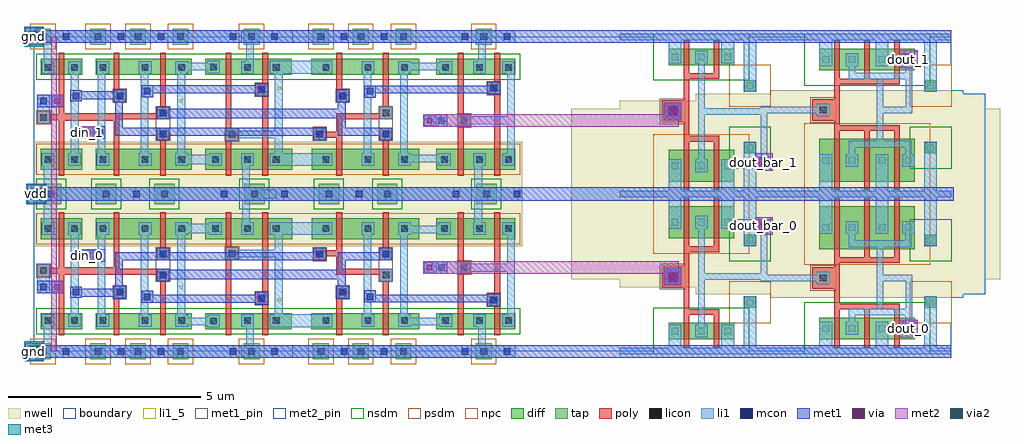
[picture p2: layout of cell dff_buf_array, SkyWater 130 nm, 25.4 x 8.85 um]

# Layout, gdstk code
import gdstk
lib = gdstk.Library(unit=1e-6, precision=1e-09)
def R(c, l, rs):  # rectangles x0, y0, x1, y1
    for r in rs: c.add(gdstk.rectangle(r[:2], r[2:], *l))
def A(c, l, x, y, w, h, nx, ny, dx, dy):  # array of equal rectangles
    R(c, l, [(x+i*dx, y+j*dy, x+i*dx+w, y+j*dy+h) for i in range(nx) for j in range(ny)])
nwell = (64, 20)
diff = (65, 20)
tap = (65, 44)
poly = (66, 20)
licon = (66, 44)
li1_5 = (67, 5)
li1 = (67, 20)
mcon = (67, 44)
met1_pin = (68, 16)
met1 = (68, 20)
via = (68, 44)
met2_pin = (69, 16)
met2 = (69, 20)
via2 = (69, 44)
met3 = (70, 20)
nsdm = (93, 44)
psdm = (94, 20)
npc = (95, 20)
boundary = (235, 4)

dff = lib.new_cell('dff')
R(dff, nwell, [(0,2.73,12.71,4.53)])
R(dff, diff, [(0.18,0.57,1.25,0.99), (1.61,0.57,4.11,0.99), (4.46,0.57,6.71,0.99), (7.22,0.57,10.02,0.99), (10.47,0.57,12.53,0.99), (0.18,2.91,1.25,3.46), (1.61,2.91,4.11,3.46), (4.46,2.91,6.72,3.46), (7.23,2.91,10.02,3.46), (10.47,2.91,12.53,3.46)])
R(dff, tap, [(0.03,-0.21,0.44,0.2), (1.46,-0.21,1.87,0.2), (2.5,-0.21,2.91,0.2), (3.61,-0.21,4.02,0.2), (5.46,-0.21,5.87,0.2), (7.26,-0.21,7.67,0.2), (8.3,-0.21,8.71,0.2), (9.41,-0.21,9.82,0.2), (11.5,-0.21,11.91,0.2), (0.18,3.82,0.71,4.35), (1.61,3.82,2.14,4.35), (3.13,3.82,3.66,4.35), (5.47,3.82,6,4.35), (7.41,3.82,7.94,4.35), (8.93,3.82,9.46,4.35), (11.51,3.82,12.04,4.35)])
R(dff, poly, [(0.64,0.42,0.79,1.99), (2.07,0.42,2.22,1.37), (3.28,0.42,3.43,1.82), (4.99,0.42,5.14,2.38), (5.94,0.42,6.09,1.21), (7.87,0.42,8.02,1.37), (9.08,0.42,9.23,1.82), (11.03,0.42,11.18,2.01), (11.98,0.42,12.13,1.17), (11.8,1.17,12.13,1.5), (5.76,1.21,6.09,1.54), (2.07,1.37,2.4,1.7), (7.87,1.37,8.2,1.7), (11.98,1.5,12.13,3.61), (5.94,1.54,6.09,3.61), (3.19,1.82,3.52,1.99), (8.99,1.82,9.32,1.99), (0.08,1.93,0.41,2.02), (0.64,1.99,3.52,2.02), (7.87,1.99,9.32,2.15), (11.03,2.01,11.36,2.34), (0.08,2.02,3.52,2.15), (0.08,2.15,2.22,2.17), (7.87,2.15,8.02,2.47), (0.08,2.17,0.41,2.26), (0.64,2.17,2.22,2.19), (0.64,2.19,0.79,3.61), (2.07,2.19,2.22,3.61), (11.03,2.34,11.18,3.61), (3.19,2.36,3.52,2.69), (7.27,2.36,7.6,2.47), (8.99,2.36,9.32,2.69), (4.99,2.38,5.32,2.71), (7.27,2.47,8.02,2.62), (7.27,2.62,7.6,2.69), (7.87,2.62,8.02,3.61), (3.28,2.69,3.43,3.61), (9.08,2.69,9.23,3.61), (4.99,2.71,5.14,3.61)])
R(dff, licon, [(0.15,-0.09,0.32,0.08), (1.58,-0.09,1.75,0.08), (2.62,-0.09,2.79,0.08), (3.73,-0.09,3.9,0.08), (5.58,-0.09,5.75,0.08), (7.38,-0.09,7.55,0.08), (8.42,-0.09,8.59,0.08), (9.53,-0.09,9.7,0.08), (11.62,-0.09,11.79,0.08), (4.59,0.7,4.76,0.87), (0.28,0.71,0.45,0.88), (0.97,0.71,1.14,0.88), (1.71,0.71,1.88,0.88), (2.81,0.71,2.98,0.88), (3.76,0.71,3.93,0.88), (5.47,0.71,5.64,0.88), (6.22,0.71,6.39,0.88), (7.51,0.71,7.68,0.88), (8.61,0.71,8.78,0.88), (9.56,0.71,9.73,0.88), (10.63,0.71,10.8,0.88), (11.51,0.71,11.68,0.88), (12.26,0.71,12.43,0.88), (11.88,1.25,12.05,1.42), (5.84,1.29,6.01,1.46), (2.15,1.45,2.32,1.62), (7.95,1.45,8.12,1.62), (3.27,1.9,3.44,2.07), (9.07,1.9,9.24,2.07), (0.16,2.01,0.33,2.18), (11.11,2.09,11.28,2.26), (3.27,2.44,3.44,2.61), (7.35,2.44,7.52,2.61), (9.07,2.44,9.24,2.61), (5.07,2.46,5.24,2.63), (0.28,3.11,0.45,3.28), (0.97,3.11,1.14,3.28), (1.71,3.11,1.88,3.28), (2.81,3.11,2.98,3.28), (3.76,3.11,3.93,3.28), (4.64,3.11,4.81,3.28), (5.47,3.11,5.64,3.28), (6.22,3.11,6.39,3.28), (7.51,3.11,7.68,3.28), (8.61,3.11,8.78,3.28), (9.56,3.11,9.73,3.28), (10.6,3.11,10.77,3.28), (11.51,3.11,11.68,3.28), (12.26,3.11,12.43,3.28), (0.36,4,0.53,4.17), (1.79,4,1.96,4.17), (3.31,4,3.48,4.17), (5.65,4,5.82,4.17), (7.59,4,7.76,4.17), (9.11,4,9.28,4.17), (11.69,4,11.86,4.17)])
R(dff, li1_5, [(6.35,1.3,6.43,1.38), (2.89,1.36,2.97,1.43), (8.71,1.36,8.79,1.43), (2.17,1.46,2.28,1.59), (3.79,1.62,3.87,1.7), (9.58,3.12,9.68,3.24)])
R(dff, li1, [(0,-0.17,12.53,0.16), (0.26,0.16,0.46,0.63), (5.52,0.16,5.72,0.63), (11.56,0.16,11.76,0.63), (4.51,0.62,4.84,0.67), (6.14,0.62,7.76,0.96), (0.2,0.63,0.53,0.96), (0.89,0.63,1.22,0.96), (1.63,0.63,1.96,0.96), (2.73,0.63,3.06,0.96), (3.68,0.63,4.01,0.67), (5.39,0.63,5.72,0.96), (8.53,0.63,8.86,0.96), (9.48,0.63,9.81,0.67), (10.55,0.63,10.88,0.67), (11.43,0.63,11.76,0.96), (12.18,0.63,12.51,0.96), (3.68,0.67,4.84,0.87), (9.48,0.67,10.88,0.87), (3.68,0.87,4.01,0.96), (4.51,0.87,4.84,0.95), (9.48,0.87,9.81,0.96), (10.55,0.87,10.88,0.96), (0.96,0.96,1.16,1.39), (1.66,0.96,1.86,2.35), (2.78,0.96,2.98,1.26), (3.73,0.96,3.93,3.03), (6.27,0.96,6.47,2.44), (8.58,0.96,8.78,1.27), (9.53,0.96,9.73,3.03), (12.31,0.96,12.51,2.07), (11.8,1.17,12.13,1.5), (5.76,1.21,6.09,1.54), (2.78,1.26,3.1,1.57), (8.58,1.27,8.9,1.58), (2.07,1.37,2.4,1.7), (7.87,1.37,8.2,1.7), (0.95,1.39,1.24,1.68), (0.08,1.51,0.41,2.26), (2.78,1.57,2.98,3.03), (8.58,1.58,8.78,3.03), (0.96,1.68,1.16,3.03), (3.19,1.82,3.52,2.15), (8.99,1.82,9.32,2.15), (11.03,2.01,11.36,2.02), (10.45,2.02,11.36,2.07), (10.45,2.07,12.51,2.27), (10.45,2.27,11.36,2.34), (12.31,2.27,12.51,3.03), (1.58,2.35,1.86,2.63), (3.19,2.36,3.52,2.69), (7.27,2.36,7.6,2.69), (8.99,2.36,9.32,2.69), (4.99,2.38,5.32,2.44), (4.99,2.44,6.47,2.64), (1.66,2.63,1.86,3.03), (4.99,2.64,5.32,2.71), (6.27,2.64,6.47,3.03), (0.2,3.03,0.53,3.36), (0.89,3.03,1.22,3.36), (1.63,3.03,1.96,3.36), (2.73,3.03,3.06,3.36), (3.68,3.03,4.01,3.07), (4.56,3.03,4.89,3.07), (5.39,3.03,5.72,3.36), (6.14,3.03,7.76,3.36), (8.53,3.03,8.86,3.36), (9.48,3.03,9.81,3.07), (10.52,3.03,10.85,3.07), (11.43,3.03,11.76,3.36), (12.18,3.03,12.51,3.36), (3.68,3.07,4.89,3.32), (9.48,3.07,10.85,3.27), (9.48,3.27,9.81,3.36), (10.52,3.27,10.85,3.36), (3.68,3.32,4.01,3.36), (4.56,3.32,4.89,3.36), (0.26,3.36,0.46,3.92), (5.42,3.36,5.62,3.92), (11.46,3.36,11.66,3.92), (0.06,3.92,12.71,4.25)])
R(dff, mcon, [(0.75,-0.09,0.92,0.08), (2.18,-0.09,2.35,0.08), (3.22,-0.09,3.39,0.08), (5.09,-0.09,5.26,0.08), (6.18,-0.09,6.35,0.08), (7.98,-0.09,8.15,0.08), (9.02,-0.09,9.19,0.08), (11.13,-0.09,11.3,0.08), (12.22,-0.09,12.39,0.08), (11.88,1.25,12.05,1.42), (5.84,1.29,6.01,1.46), (2.86,1.32,3.03,1.49), (8.66,1.33,8.83,1.5), (1.01,1.45,1.18,1.62), (2.15,1.45,2.32,1.62), (7.95,1.45,8.12,1.62), (0.16,1.58,0.33,1.75), (3.27,1.9,3.44,2.07), (10.52,2.09,10.69,2.26), (1.63,2.4,1.8,2.57), (3.27,2.44,3.44,2.61), (7.35,2.44,7.52,2.61), (9.07,2.44,9.24,2.61), (2.58,4,2.75,4.17), (4.86,4,5.03,4.17), (6.44,4,6.61,4.17), (8.38,4,8.55,4.17), (10.9,4,11.07,4.17), (12.48,4,12.65,4.17)])
R(dff, met1_pin, [(5.39,-0.17,6.74,0.16), (5.92,3.98,6.31,4.18)])
R(dff, met1, [(0,-0.17,12.53,0.16), (0,-0.17,12.53,0.16), (11.79,1.17,12.13,1.27), (5.76,1.21,6.09,1.26), (2.8,1.26,6.09,1.47), (8.6,1.27,12.13,1.47), (2.07,1.37,2.4,1.42), (7.87,1.37,8.2,1.7), (0.95,1.39,1.24,1.42), (0.95,1.42,2.4,1.62), (2.8,1.47,3.1,1.57), (5.76,1.47,6.09,1.54), (8.6,1.47,8.9,1.58), (11.79,1.47,12.13,1.5), (0.08,1.51,0.76,1.83), (0.95,1.62,1.24,1.68), (2.07,1.62,2.4,1.7), (2.11,1.7,2.31,2.37), (7.91,1.7,8.11,1.87), (3.19,1.82,3.52,1.87), (3.19,1.87,8.11,2.12), (10.13,2.02,10.76,2.34), (3.19,2.12,3.52,2.15), (7.91,2.12,8.11,2.37), (1.23,2.33,1.86,2.65), (3.19,2.36,3.52,2.37), (7.27,2.36,7.6,2.37), (8.99,2.36,9.32,2.37), (2.11,2.37,7.6,2.57), (7.91,2.37,9.32,2.57), (3.19,2.57,3.52,2.69), (7.27,2.57,7.6,2.69), (8.99,2.57,9.32,2.69), (0.06,3.92,12.71,4.25), (0.06,3.92,12.71,4.25)])
R(dff, via, [(0.525,1.595,0.675,1.745), (10.215,2.105,10.365,2.255), (1.325,2.415,1.475,2.565)])
R(dff, met2_pin, [(0.47,1.54,0.73,1.8), (10.16,2.05,10.42,2.31), (1.27,2.36,1.53,2.62)])
R(dff, met2, [(0.45,1.51,0.76,1.83), (0.45,1.51,0.76,1.83), (10.13,2.02,10.45,2.34), (10.13,2.02,10.45,2.34), (1.23,2.33,1.57,2.65), (1.23,2.33,1.57,2.65)])
R(dff, nsdm, [(0.055,0.445,12.655,1.115), (0.055,3.695,0.835,4.475), (1.485,3.695,2.265,4.475), (3.005,3.695,3.785,4.475), (5.345,3.695,6.125,4.475), (7.285,3.695,8.065,4.475), (8.805,3.695,9.585,4.475), (11.385,3.695,12.165,4.475)])
R(dff, psdm, [(-0.095,-0.335,0.565,0.325), (1.335,-0.335,1.995,0.325), (2.375,-0.335,3.035,0.325), (3.485,-0.335,4.145,0.325), (5.335,-0.335,5.995,0.325), (7.135,-0.335,7.795,0.325), (8.175,-0.335,8.835,0.325), (9.285,-0.335,9.945,0.325), (11.375,-0.335,12.035,0.325), (0.055,2.785,12.655,3.585)])
R(dff, npc, [(11.78,1.15,12.15,1.52), (5.74,1.19,6.11,1.56), (2.05,1.35,2.42,1.72), (7.85,1.35,8.22,1.72), (3.17,1.8,3.54,2.71), (8.97,1.8,9.34,2.71), (0.06,1.91,0.43,2.28), (11.01,1.99,11.38,2.36), (7.25,2.34,7.62,2.71), (4.97,2.36,5.34,2.73)])
R(dff, boundary, [(0,0,12.71,4.09)])
dff.add(gdstk.Label('net1', (2.93,1.395), layer=67, texttype=5))
dff.add(gdstk.Label('net2', (3.83,1.66), layer=67, texttype=5))
dff.add(gdstk.Label('net3', (6.39,1.34), layer=67, texttype=5))
dff.add(gdstk.Label('net4', (8.75,1.395), layer=67, texttype=5))
dff.add(gdstk.Label('net5', (9.63,3.18), layer=67, texttype=5))
dff.add(gdstk.Label('clkb', (2.225,1.525), layer=67, texttype=5))
dff.add(gdstk.Label('D', (1.4,2.49), layer=69, texttype=16))
dff.add(gdstk.Label('Q', (10.29,2.18), layer=69, texttype=16))
dff.add(gdstk.Label('clk', (0.6,1.67), layer=69, texttype=16))
dff.add(gdstk.Label('vdd', (6.115,4.08), layer=68, texttype=16))
dff.add(gdstk.Label('gnd', (6.065,-0.005), layer=68, texttype=16))
dff.add(gdstk.Label('D', (1.4,2.49), layer=69, texttype=20))
dff.add(gdstk.Label('Q', (10.29,2.18), layer=69, texttype=20))
dff.add(gdstk.Label('clk', (0.605,1.67), layer=69, texttype=20))
dff.add(gdstk.Label('vdd', (6.385,4.085), layer=68, texttype=20))
dff.add(gdstk.Label('gnd', (6.265,-0.005), layer=68, texttype=20))

contact_10 = lib.new_cell('contact_10')
R(contact_10, nwell, [(-1.25,-1.25,1.58,1.58)])
R(contact_10, diff, [(0.02,0.02,0.31,0.31)])
R(contact_10, tap, [(0.08,0.08,0.25,0.25)])
R(contact_10, li1, [(0,0,0.33,0.33)])
R(contact_10, psdm, [(-0.38,-0.38,0.71,0.71)])
R(contact_10, boundary, [(-1.25,-1.25,1.58,1.58)])

pmos_m2_w0_840_sli_dli_d = lib.new_cell('pmos_m2_w0_840_sli_dli_da_p')
R(pmos_m2_w0_840_sli_dli_d, nwell, [(-1.27,-1.27,2.97,2.11)])
R(pmos_m2_w0_840_sli_dli_d, diff, [(0,0,1.7,0.84)])
R(pmos_m2_w0_840_sli_dli_d, poly, [(0.385,-0.36,1.315,-0.21), (0.385,-0.21,0.535,1.05), (1.165,-0.21,1.315,1.05)])
A(pmos_m2_w0_840_sli_dli_d, li1, 0, 0.255, 0.33, 0.33, 3, 1, 0.685, 0)
R(pmos_m2_w0_840_sli_dli_d, psdm, [(-0.4,-0.4,2.1,1.24)])
R(pmos_m2_w0_840_sli_dli_d, boundary, [(-1.27,-1.27,2.97,2.11)])
pmos_m2_w0_840_sli_dli_d.add(gdstk.Reference(contact_10, (0,0.255)))
pmos_m2_w0_840_sli_dli_d.add(gdstk.Reference(contact_10, (0.685,0.255)))
pmos_m2_w0_840_sli_dli_d.add(gdstk.Reference(contact_10, (1.37,0.255)))
pmos_m2_w0_840_sli_dli_d.add(gdstk.Label('G', (0.85,-0.285), layer=66, texttype=20))
pmos_m2_w0_840_sli_dli_d.add(gdstk.Label('S', (1.535,0.42), layer=67, texttype=20))
pmos_m2_w0_840_sli_dli_d.add(gdstk.Label('S', (0.165,0.42), layer=67, texttype=20))
pmos_m2_w0_840_sli_dli_d.add(gdstk.Label('D', (0.85,0.42), layer=67, texttype=20))

contact_9 = lib.new_cell('contact_9')
R(contact_9, diff, [(0.02,0.02,0.31,0.31)])
R(contact_9, tap, [(0.08,0.08,0.25,0.25)])
R(contact_9, li1, [(0,0,0.33,0.33)])
R(contact_9, nsdm, [(-0.38,-0.38,0.71,0.71)])
R(contact_9, boundary, [(-0.38,-0.38,0.71,0.71)])

nmos_m2_w0_420_sli_dli_d = lib.new_cell('nmos_m2_w0_420_sli_dli_da_p')
R(nmos_m2_w0_420_sli_dli_d, diff, [(0,0,1.7,0.42)])
R(nmos_m2_w0_420_sli_dli_d, poly, [(0.385,-0.21,0.535,0.63), (1.165,-0.21,1.315,0.63), (0.385,0.63,1.315,0.78)])
A(nmos_m2_w0_420_sli_dli_d, li1, 0, 0.045, 0.33, 0.33, 3, 1, 0.685, 0)
R(nmos_m2_w0_420_sli_dli_d, nsdm, [(-0.4,-0.4,2.1,0.82)])
R(nmos_m2_w0_420_sli_dli_d, boundary, [(-0.4,-0.4,2.1,0.82)])
nmos_m2_w0_420_sli_dli_d.add(gdstk.Reference(contact_9, (0,0.045)))
nmos_m2_w0_420_sli_dli_d.add(gdstk.Reference(contact_9, (0.685,0.045)))
nmos_m2_w0_420_sli_dli_d.add(gdstk.Reference(contact_9, (1.37,0.045)))
nmos_m2_w0_420_sli_dli_d.add(gdstk.Label('G', (0.85,0.705), layer=66, texttype=20))
nmos_m2_w0_420_sli_dli_d.add(gdstk.Label('S', (0.165,0.21), layer=67, texttype=20))
nmos_m2_w0_420_sli_dli_d.add(gdstk.Label('S', (1.535,0.21), layer=67, texttype=20))
nmos_m2_w0_420_sli_dli_d.add(gdstk.Label('D', (0.85,0.21), layer=67, texttype=20))

contact_11 = lib.new_cell('contact_11')
R(contact_11, nwell, [(-1.25,-1.25,1.58,1.58)])
R(contact_11, diff, [(0.02,0.02,0.31,0.31)])
R(contact_11, tap, [(0.08,0.08,0.25,0.25)])
R(contact_11, li1, [(0,0,0.33,0.33)])
R(contact_11, nsdm, [(-0.38,-0.38,0.71,0.71)])
R(contact_11, boundary, [(-1.25,-1.25,1.58,1.58)])

contact_12 = lib.new_cell('contact_12')
R(contact_12, diff, [(0.02,0.02,0.31,0.31)])
R(contact_12, tap, [(0.08,0.08,0.25,0.25)])
R(contact_12, li1, [(0,0,0.33,0.33)])
R(contact_12, psdm, [(-0.38,-0.38,0.71,0.71)])
R(contact_12, boundary, [(-0.38,-0.38,0.71,0.71)])

contact_13 = lib.new_cell('contact_13')
R(contact_13, poly, [(0,0,0.57,0.57)])
R(contact_13, licon, [(0.2,0.2,0.37,0.37)])
R(contact_13, li1, [(0.12,0.12,0.45,0.45)])
R(contact_13, npc, [(-0.05,-0.05,0.62,0.62)])
R(contact_13, boundary, [(-0.05,-0.05,0.62,0.62)])

pinv_0 = lib.new_cell('pinv_0')
R(pinv_0, nwell, [(-1.27,1.963,5.19,6.315)])
R(pinv_0, poly, [(1.655,1.095,1.805,2.575), (1.37,1.655,1.655,2.225)])
R(pinv_0, li1, [(0,-0.085,3.92,0.085), (1.27,-0.085,1.6,0.36), (2.64,-0.085,2.97,0.36), (3.22,0,3.55,1.27), (2.035,0.36,2.205,3.52), (1.205,1.775,1.535,2.105), (2.12,1.855,2.29,2.025), (3.22,2.89,3.55,4.09), (1.27,3.19,1.6,4.175), (2.64,3.19,2.97,4.175), (0,4.005,3.92,4.175)])
R(pinv_0, boundary, [(0,0,3.92,4.09), (0,0,3.92,4.09)])
pinv_0.add(gdstk.Reference(pmos_m2_w0_840_sli_dli_d, (1.27,2.935)))
pinv_0.add(gdstk.Reference(nmos_m2_w0_420_sli_dli_d, (1.27,0.315)))
pinv_0.add(gdstk.Reference(contact_11, (3.22,2.725)))
pinv_0.add(gdstk.Reference(contact_12, (3.22,1.105)))
pinv_0.add(gdstk.Reference(contact_13, (1.085,1.655)))
pinv_0.add(gdstk.Label('A', (1.37,1.94), layer=67, texttype=20))
pinv_0.add(gdstk.Label('Z', (2.205,1.94), layer=67, texttype=20))
pinv_0.add(gdstk.Label('gnd', (1.96,0), layer=67, texttype=20))
pinv_0.add(gdstk.Label('vdd', (1.96,4.09), layer=67, texttype=20))

pmos_m3_w1_120_sli_dli_d = lib.new_cell('pmos_m3_w1_120_sli_dli_da_p')
R(pmos_m3_w1_120_sli_dli_d, nwell, [(-1.27,-1.27,3.75,2.39)])
R(pmos_m3_w1_120_sli_dli_d, diff, [(0,0,2.48,1.12)])
A(pmos_m3_w1_120_sli_dli_d, poly, 0.385, -0.21, 0.15, 1.54, 3, 1, 0.78, 0)
R(pmos_m3_w1_120_sli_dli_d, poly, [(0.385,-0.36,2.095,-0.21)])
R(pmos_m3_w1_120_sli_dli_d, li1, [(0.765,0.055,2.4,0.225), (0.765,0.14,0.935,0.56), (2.23,0.14,2.4,0.56), (0,0.395,0.33,0.725), (1.465,0.395,1.795,0.725)])
R(pmos_m3_w1_120_sli_dli_d, psdm, [(-0.4,-0.4,2.88,1.52)])
R(pmos_m3_w1_120_sli_dli_d, boundary, [(-1.27,-1.27,3.75,2.39)])
pmos_m3_w1_120_sli_dli_d.add(gdstk.Reference(contact_10, (0,0.395)))
pmos_m3_w1_120_sli_dli_d.add(gdstk.Reference(contact_10, (0.685,0.395)))
pmos_m3_w1_120_sli_dli_d.add(gdstk.Reference(contact_10, (1.465,0.395)))
pmos_m3_w1_120_sli_dli_d.add(gdstk.Reference(contact_10, (2.15,0.395)))
pmos_m3_w1_120_sli_dli_d.add(gdstk.Label('G', (1.24,-0.285), layer=66, texttype=20))
pmos_m3_w1_120_sli_dli_d.add(gdstk.Label('S', (1.63,0.56), layer=67, texttype=20))
pmos_m3_w1_120_sli_dli_d.add(gdstk.Label('S', (0.165,0.56), layer=67, texttype=20))
pmos_m3_w1_120_sli_dli_d.add(gdstk.Label('D', (1.582,0.14), layer=67, texttype=20))

nmos_m3_w0_560_sli_dli_d = lib.new_cell('nmos_m3_w0_560_sli_dli_da_p')
R(nmos_m3_w0_560_sli_dli_d, diff, [(0,0,2.48,0.56)])
A(nmos_m3_w0_560_sli_dli_d, poly, 0.385, -0.21, 0.15, 0.98, 3, 1, 0.78, 0)
R(nmos_m3_w0_560_sli_dli_d, poly, [(0.385,0.77,2.095,0.92)])
R(nmos_m3_w0_560_sli_dli_d, li1, [(0,0.115,0.33,0.445), (1.465,0.115,1.795,0.445), (0.765,0.28,0.935,0.7), (2.23,0.28,2.4,0.7), (0.765,0.615,2.4,0.785)])
R(nmos_m3_w0_560_sli_dli_d, nsdm, [(-0.4,-0.4,2.88,0.96)])
R(nmos_m3_w0_560_sli_dli_d, boundary, [(-0.4,-0.4,2.88,0.96)])
nmos_m3_w0_560_sli_dli_d.add(gdstk.Reference(contact_9, (0,0.115)))
nmos_m3_w0_560_sli_dli_d.add(gdstk.Reference(contact_9, (0.685,0.115)))
nmos_m3_w0_560_sli_dli_d.add(gdstk.Reference(contact_9, (1.465,0.115)))
nmos_m3_w0_560_sli_dli_d.add(gdstk.Reference(contact_9, (2.15,0.115)))
nmos_m3_w0_560_sli_dli_d.add(gdstk.Label('G', (1.24,0.845), layer=66, texttype=20))
nmos_m3_w0_560_sli_dli_d.add(gdstk.Label('S', (1.63,0.28), layer=67, texttype=20))
nmos_m3_w0_560_sli_dli_d.add(gdstk.Label('S', (0.165,0.28), layer=67, texttype=20))
nmos_m3_w0_560_sli_dli_d.add(gdstk.Label('D', (1.582,0.7), layer=67, texttype=20))

pinv_1 = lib.new_cell('pinv_1')
R(pinv_1, nwell, [(-1.27,1.963,5.97,6.315)])
R(pinv_1, poly, [(1.655,1.235,1.805,2.295), (1.37,1.62,1.655,2.19)])
R(pinv_1, li1, [(0,-0.085,4.7,0.085), (1.27,-0.085,1.6,0.43), (2.735,-0.085,3.065,0.43), (4,0,4.33,1.27), (2.767,0.93,2.937,2.88), (1.205,1.74,1.535,2.07), (2.852,1.82,3.022,1.99), (4,2.89,4.33,4.09), (1.27,3.05,1.6,4.175), (2.735,3.05,3.065,4.175), (0,4.005,4.7,4.175)])
R(pinv_1, boundary, [(0,0,4.7,4.09), (0,0,4.7,4.09)])
pinv_1.add(gdstk.Reference(pmos_m3_w1_120_sli_dli_d, (1.27,2.655)))
pinv_1.add(gdstk.Reference(nmos_m3_w0_560_sli_dli_d, (1.27,0.315)))
pinv_1.add(gdstk.Reference(contact_11, (4,2.725)))
pinv_1.add(gdstk.Reference(contact_12, (4,1.105)))
pinv_1.add(gdstk.Reference(contact_13, (1.085,1.62)))
pinv_1.add(gdstk.Label('A', (1.37,1.905), layer=67, texttype=20))
pinv_1.add(gdstk.Label('Z', (2.937,1.905), layer=67, texttype=20))
pinv_1.add(gdstk.Label('gnd', (2.35,0), layer=67, texttype=20))
pinv_1.add(gdstk.Label('vdd', (2.35,4.09), layer=67, texttype=20))

contact_14 = lib.new_cell('contact_14')
R(contact_14, li1, [(0.06,0.06,0.23,0.23)])
R(contact_14, mcon, [(0.06,0.06,0.23,0.23)])
R(contact_14, met1, [(0,0,0.29,0.29)])
R(contact_14, boundary, [(0,0,0.29,0.29)])

contact_6 = lib.new_cell('contact_6')
R(contact_6, met1, [(0,0,0.46,0.46)])
R(contact_6, via, [(0.1,0.1,0.36,0.36)])
R(contact_6, met2, [(0,0,0.46,0.46)])
R(contact_6, boundary, [(0,0,0.46,0.46)])

dff_buf_0 = lib.new_cell('dff_buf_0')
R(dff_buf_0, li1, [(22.682,0.585,22.852,1.905), (18.913,1.82,19.083,1.99), (18.998,1.82,20.54,1.99), (22.107,1.82,22.767,1.99), (22.682,1.82,22.852,1.99), (17.455,1.855,18.998,2.025), (18.913,1.855,19.083,2.025), (18.913,1.905,19.083,1.94), (18.913,1.94,19.083,3.26)])
R(dff_buf_0, met1, [(0,-0.17,23.87,0.16), (0.06,3.92,23.93,4.25)])
R(dff_buf_0, met2, [(22.697,0.515,22.837,0.655), (0.45,1.51,0.76,1.83), (16.46,1.94,16.78,2.18), (10.29,2.02,16.62,2.34), (16.46,2.02,16.78,2.34), (1.23,2.33,1.57,2.65), (18.928,3.19,19.068,3.33)])
R(dff_buf_0, boundary, [(0,0,23.87,4.09)])
dff_buf_0.add(gdstk.Reference(dff, (0,0)))
dff_buf_0.add(gdstk.Reference(pinv_0, (15.25,0)))
dff_buf_0.add(gdstk.Reference(pinv_1, (19.17,0)))
dff_buf_0.add(gdstk.Reference(contact_14, (16.475,1.795)))
dff_buf_0.add(gdstk.Reference(contact_6, (16.39,1.71)))
dff_buf_0.add(gdstk.Reference(contact_14, (22.622,0.44)))
dff_buf_0.add(gdstk.Reference(contact_6, (22.537,0.355)))
dff_buf_0.add(gdstk.Reference(contact_14, (18.852,3.115)))
dff_buf_0.add(gdstk.Reference(contact_6, (18.768,3.03)))
dff_buf_0.add(gdstk.Label('vdd', (11.995,4.085), layer=68, texttype=20))
dff_buf_0.add(gdstk.Label('gnd', (11.935,-0.005), layer=68, texttype=20))
dff_buf_0.add(gdstk.Label('clk', (0.605,1.67), layer=69, texttype=20))
dff_buf_0.add(gdstk.Label('D', (1.4,2.49), layer=69, texttype=20))
dff_buf_0.add(gdstk.Label('Q', (22.767,0.585), layer=69, texttype=20))
dff_buf_0.add(gdstk.Label('Qb', (18.998,3.26), layer=69, texttype=20))

contact_7 = lib.new_cell('contact_7')
R(contact_7, met2, [(0,0,0.52,0.52)])
R(contact_7, via2, [(0.12,0.12,0.4,0.4)])
R(contact_7, met3, [(0.04,0.04,0.48,0.48)])
R(contact_7, boundary, [(0,0,0.52,0.52)])

dff_buf_array = lib.new_cell('dff_buf_array')
R(dff_buf_array, met1, [(0,-0.17,23.87,0.16), (0.06,3.92,23.93,4.25), (0.06,3.93,23.93,4.26), (0,8.02,23.87,8.35)])
R(dff_buf_array, met2, [(0.45,0,0.59,8.18), (22.697,0.515,22.837,0.655), (1.23,2.33,1.57,2.65), (18.928,3.19,19.068,3.33), (18.928,4.85,19.068,4.99), (1.23,5.53,1.57,5.85), (22.697,7.525,22.837,7.665)])
R(dff_buf_array, met3, [(-0.26,-0.265,0.26,0.255), (-0.2,3.825,0.32,4.345), (-0.2,3.835,0.32,4.355), (-0.26,7.925,0.26,8.445)])
R(dff_buf_array, boundary, [(0,0,23.87,8.18)])
dff_buf_array.add(gdstk.Reference(dff_buf_0, (0,0)))
dff_buf_array.add(gdstk.Reference(dff_buf_0, (0,8.18), x_reflection=True))
dff_buf_array.add(gdstk.Reference(contact_6, (-0.17,3.855)))
dff_buf_array.add(gdstk.Reference(contact_7, (-0.2,3.825)))
dff_buf_array.add(gdstk.Reference(contact_6, (-0.23,-0.235)))
dff_buf_array.add(gdstk.Reference(contact_7, (-0.26,-0.265)))
dff_buf_array.add(gdstk.Reference(contact_6, (-0.17,3.865)))
dff_buf_array.add(gdstk.Reference(contact_7, (-0.2,3.835)))
dff_buf_array.add(gdstk.Reference(contact_6, (-0.23,7.955)))
dff_buf_array.add(gdstk.Reference(contact_7, (-0.26,7.925)))
dff_buf_array.add(gdstk.Label('vdd', (0.06,4.095), layer=70, texttype=20))
dff_buf_array.add(gdstk.Label('vdd', (0.06,4.085), layer=70, texttype=20))
dff_buf_array.add(gdstk.Label('gnd', (0,8.185), layer=70, texttype=20))
dff_buf_array.add(gdstk.Label('gnd', (0,-0.005), layer=70, texttype=20))
dff_buf_array.add(gdstk.Label('din_0', (1.4,2.49), layer=69, texttype=20))
dff_buf_array.add(gdstk.Label('dout_0', (22.767,0.585), layer=69, texttype=20))
dff_buf_array.add(gdstk.Label('dout_bar_0', (18.998,3.26), layer=69, texttype=20))
dff_buf_array.add(gdstk.Label('din_1', (1.4,5.69), layer=69, texttype=20))
dff_buf_array.add(gdstk.Label('dout_1', (22.767,7.595), layer=69, texttype=20))
dff_buf_array.add(gdstk.Label('dout_bar_1', (18.998,4.92), layer=69, texttype=20))
dff_buf_array.add(gdstk.Label('clk', (0.52,4.09), layer=69, texttype=20))

lib.write_gds('dff_buf_array.gds')
